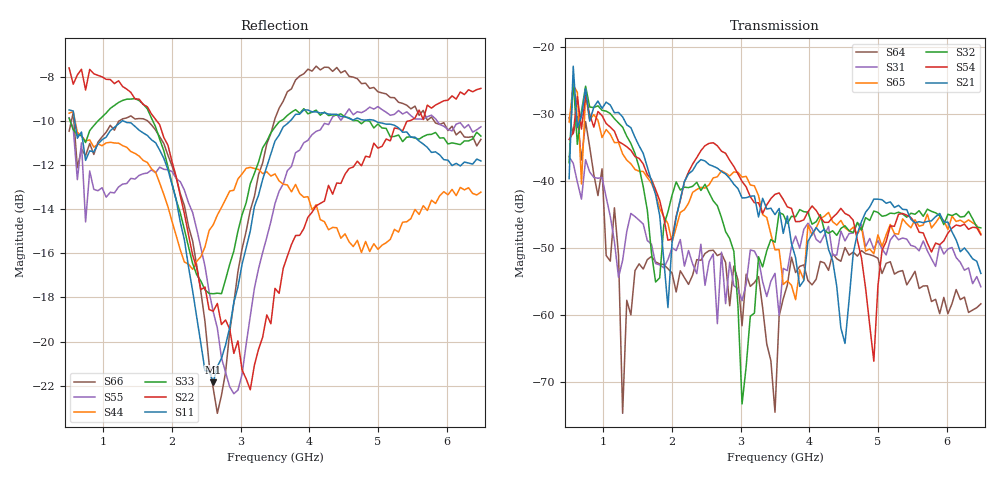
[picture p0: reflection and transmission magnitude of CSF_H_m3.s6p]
!Keysight Technologies,M9804A,MY58100912,A.14.10.03
!Date: Thursday, April 27, 2023 10:28:33
!Correction: S11(C  6-Port  )
!S12(C  6-Port  )
!S13(C  6-Port  )
!S14(C  6-Port  )
!S15(C  6-Port  )
!S16(C  6-Port  )
!S21(C  6-Port  )
!S22(C  6-Port  )
!S23(C  6-Port  )
!S24(C  6-Port  )
!S25(C  6-Port  )
!S26(C  6-Port  )
!S31(C  6-Port  )
!S32(C  6-Port  )
!S33(C  6-Port  )
!S34(C  6-Port  )
!S35(C  6-Port  )
!S36(C  6-Port  )
!S41(C  6-Port  )
!S42(C  6-Port  )
!S43(C  6-Port  )
!S44(C  6-Port  )
!S45(C  6-Port  )
!S46(C  6-Port  )
!S51(C  6-Port  )
!S52(C  6-Port  )
!S53(C  6-Port  )
!S54(C  6-Port  )
!S55(C  6-Port  )
!S56(C  6-Port  )
!S61(C  6-Port  )
!S62(C  6-Port  )
!S63(C  6-Port  )
!S64(C  6-Port  )
!S65(C  6-Port  )
!S66(C  6-Port  )
!S6P File: Measurement: :
# Hz S  RI  R 50
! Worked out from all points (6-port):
!   101 points, 500 MHz to 6.5 GHz, reference 50 ohm
!   strongest paths, dB at 500 MHz, 2 GHz, 3.5 GHz, 5 GHz, 6.5 GHz:
!     S21: -39.6, -49.1, -45.0, -42.7, -53.8
!     S54: -33.8, -48.6, -42.0, -55.6, -48.0
!     S32: -37.3, -42.1, -49.1, -44.7, -47.0
!     S65: -31.2, -49.1, -50.3, -48.0, -47.9
!     S31: -36.4, -50.0, -53.8, -48.9, -55.8
!     S64: -30.5, -53.7, -74.5, -51.5, -58.3
!   lowest |S11| = -21.8 dB at 2.6 GHz (marker M1), VSWR 1.18, Z = 42.7 + j1.91 ohm
!   |S11| at or under -10 dB: 582 MHz to 1.273 GHz (691 MHz wide, 74.5 % of centre); 1.292 GHz to 3.72 GHz (2.428 GHz wide, 96.9 % of centre); 4.961 GHz to end of sweep
